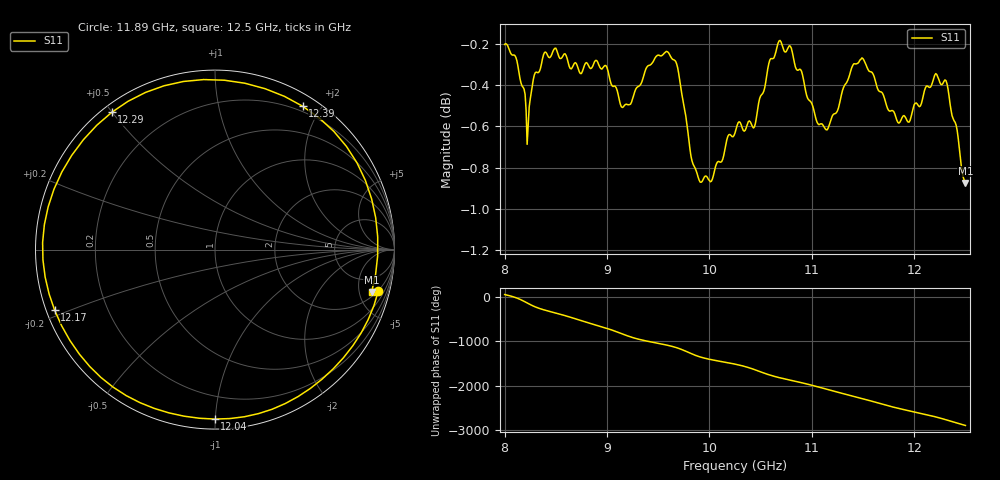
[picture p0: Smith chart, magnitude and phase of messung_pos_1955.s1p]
#  HZ  S  RI  R  50.00
! Rohde & Schwarz Vector Network Analyzer
! Rohde-Schwarz,ZNA43-4Port,1332450044101932,2.92
! Created: UTC 6/1/2026, 11:34:29 AM
! freq[Hz]  re:S11  im:S11
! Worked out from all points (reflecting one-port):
!   451 points, 8 GHz to 12.5 GHz, reference 50 ohm
!   lowest |S11| = -0.9 dB at 12.5 GHz (marker M1), VSWR 19.88, Z = 127 - j329 ohm
!   phase of S11 starts at 52 deg and turns -2948 deg over the sweep
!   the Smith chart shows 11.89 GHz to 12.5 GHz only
!   S11 on the Smith chart (normalised r, x): 11.89 GHz: 1.96, -7.55; 12.04 GHz: 0.06, -1.00; 12.17 GHz: 0.02, -0.18; 12.29 GHz: 0.03, +0.50; 12.39 GHz: 0.14, +1.78; 12.5 GHz: 2.55, -6.58
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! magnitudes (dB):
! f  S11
! 8 GHz  -0.2
! 8.11 GHz  -0.3
! 8.23 GHz  -0.6
! 8.29 GHz  -0.4
! 8.39 GHz  -0.2
! 8.57 GHz  -0.3
! 8.99 GHz  -0.3
! 9.13 GHz  -0.5
! 9.23 GHz  -0.5
! 9.49 GHz  -0.3
! 9.69 GHz  -0.3
! 9.82 GHz  -0.7
! 9.91 GHz  -0.9
! 10.02 GHz  -0.9
! 10.25 GHz  -0.6
! 10.44 GHz  -0.6
! 10.68 GHz  -0.2
! 10.82 GHz  -0.3
! 11.14 GHz  -0.6
! 11.38 GHz  -0.3
! 11.5 GHz  -0.3
! 11.89 GHz  -0.6
! 11.94 GHz  -0.6
! 12.04 GHz  -0.5
! 12.17 GHz  -0.4
! 12.29 GHz  -0.4
! 12.39 GHz  -0.6
! 12.5 GHz  -0.9
